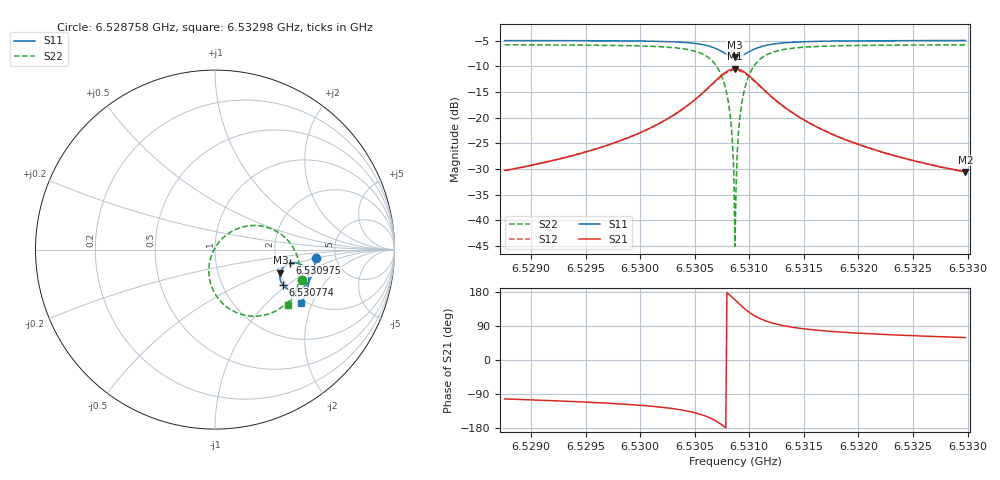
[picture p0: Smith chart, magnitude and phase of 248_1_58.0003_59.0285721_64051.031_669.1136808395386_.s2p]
#  HZ  S  RI  R  50.00
! Rohde & Schwarz Vector Network Analyzer
! Rohde-Schwarz,ZNB20-2Port,1311601062101988,3.16
! Created: UTC 3/21/2024, 1:01:20 AM
! freq[Hz]  re:S11  im:S11  re:S21  im:S21  re:S12  im:S12  re:S22  im:S22
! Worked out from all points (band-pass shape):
!   401 points, 6.528758 GHz to 6.53298 GHz, reference 50 ohm
!   highest |S21| = -10.49 dB at 6.530869 GHz (marker M1); lowest = -30.6 dB at 6.53298 GHz (marker M2)
!   |S21| within 3 dB of the highest: 6.530658 GHz to 6.531081 GHz (422.8 kHz wide, 0.00647 % of centre)
!   lowest |S11| = -8.3 dB at 6.530869 GHz (marker M3), VSWR 2.26, Z = 101 - j30.5 ohm
!   |S11| at or under -10 dB: nowhere
!   |S22| runs from -45.1 to -5.8 dB; largest |S21 - S12| = 0.012
!   S11 on the Smith chart (normalised r, x): 6.528758 GHz: 3.50, -0.48; 6.530774 GHz: 1.92, -0.92; 6.530975 GHz: 2.38, -0.44; 6.53298 GHz: 1.88, -1.65
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6.5287584e9  0.5602 -0.0474  -0.00677 -0.0297  -0.00735 -0.0296  0.4834 -0.1677
6.5294655e9  0.5511 -0.1061  -0.0158 -0.0421  -0.0169 -0.0419  0.4526 -0.2318
6.5301725e9  0.5241 -0.176  -0.0485 -0.0724  -0.0508 -0.0711  0.3722 -0.3209
6.5305946e9  0.4553 -0.2264  -0.154 -0.098  -0.1563 -0.0917  0.17 -0.3664
6.5307002e9  0.4113 -0.2221  -0.222 -0.0724  -0.2212 -0.0631  0.0558 -0.3119
6.530774e9  0.3768 -0.1958  -0.2719 -0.0154  -0.2664 -0.00555  -0.0183 -0.207
6.5308057e9  0.3663 -0.1761  -0.2853 0.0224  -0.2774 0.0309  -0.0334 -0.1422
6.5308268e9  0.3622 -0.1609  -0.2885 0.0508  -0.2794 0.0581  -0.0334 -0.0948
6.5308373e9  0.3615 -0.1528  -0.2881 0.0656  -0.2784 0.072  -0.0301 -0.0706
6.5308479e9  0.3616 -0.1446  -0.2864 0.0805  -0.2762 0.086  -0.0243 -0.0465
6.5308585e9  0.3626 -0.1363  -0.283 0.0952  -0.2725 0.1  -0.016 -0.0231
6.530869e9  0.3643 -0.1281  -0.2781 0.1097  -0.2677 0.1135  -0.00556 -0.000393
6.5308796e9  0.3672 -0.1202  -0.2719 0.1237  -0.2612 0.1263  0.00738 0.0212
6.5308901e9  0.3707 -0.1125  -0.2643 0.1369  -0.2538 0.1387  0.022 0.0412
6.5309007e9  0.3751 -0.1055  -0.2555 0.1491  -0.2453 0.15  0.0387 0.0597
6.5309218e9  0.3856 -0.0933  -0.2353 0.1705  -0.2258 0.1697  0.0757 0.0906
6.5309745e9  0.4178 -0.075  -0.1765 0.2018  -0.1697 0.1989  0.178 0.1314
6.5310484e9  0.4596 -0.0748  -0.1031 0.2039  -0.0995 0.2011  0.3011 0.1206
6.5311539e9  0.4964 -0.0964  -0.0397 0.174  -0.0381 0.1724  0.4028 0.0545
6.5315761e9  0.5228 -0.1753  0.0151 0.0841  0.0161 0.0839  0.4719 -0.1339
6.5322831e9  0.5045 -0.2472  0.0172 0.0403  0.018 0.0402  0.4428 -0.2484
6.5329796e9  0.4781 -0.2995  0.0152 0.0253  0.0156 0.0251  0.4077 -0.3084
